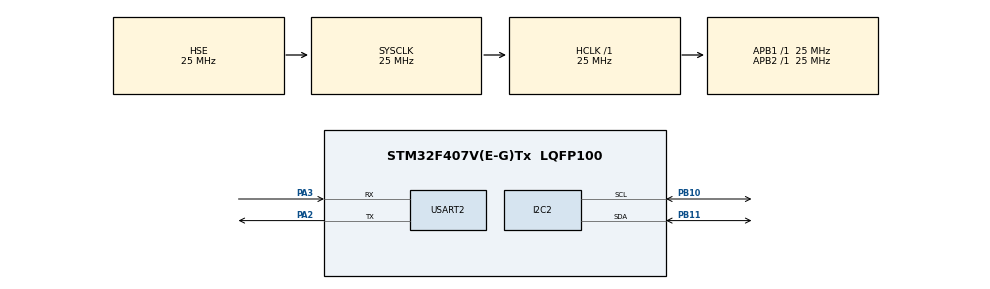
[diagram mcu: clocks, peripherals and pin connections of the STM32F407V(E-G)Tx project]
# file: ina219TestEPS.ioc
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Mcu.Family=STM32F4
Mcu.Name=STM32F407V(E-G)Tx
Mcu.Package=LQFP100
NVIC.PriorityGroup=NVIC_PRIORITYGROUP_4
PA2.Mode=Asynchronous
PA2.Signal=USART2_TX
PA3.Mode=Asynchronous
PA3.Signal=USART2_RX
PB10.Mode=I2C
PB10.Signal=I2C2_SCL
PB11.Mode=I2C
PB11.Signal=I2C2_SDA
PH0-OSC_IN.Mode=HSE-External-Oscillator
PH0-OSC_IN.Signal=RCC_OSC_IN
PH1-OSC_OUT.Mode=HSE-External-Oscillator
PH1-OSC_OUT.Signal=RCC_OSC_OUT
ProjectManager.HeapSize=0x200
ProjectManager.StackSize=0x400
ProjectManager.TargetToolchain=Makefile
RCC.48MHZClocksFreq_Value=75000000
RCC.AHBFreq_Value=25000000
RCC.APB1Freq_Value=25000000
RCC.APB1TimFreq_Value=25000000
RCC.APB2Freq_Value=25000000
RCC.APB2TimFreq_Value=25000000
RCC.CortexFreq_Value=25000000
RCC.HCLKFreq_Value=25000000
RCC.HSE_VALUE=25000000
RCC.HSI_VALUE=16000000
RCC.LSE_VALUE=32768
RCC.PLLSourceVirtual=RCC_PLLSOURCE_HSE
RCC.SYSCLKFreq_VALUE=25000000
RCC.SYSCLKSource=RCC_SYSCLKSOURCE_HSE
RCC.VCOOutputFreq_Value=300000000
USART2.VirtualMode=VM_ASYNC
board=custom

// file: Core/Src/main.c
/* USER CODE BEGIN Header */
/**
  ******************************************************************************
  * @file           : main.c
  * @brief          : Main program body
  ******************************************************************************
  * @attention
  *
  * Copyright (c) 2025 STMicroelectronics.
  * All rights reserved.
  *
  * This software is licensed under terms that can be found in the LICENSE file
  * in the root directory of this software component.
  * If no LICENSE file comes with this software, it is provided AS-IS.
  *
  ******************************************************************************
  */
/* USER CODE END Header */
#include "main.h"
#include "i2c.h"
#include "usart.h"
#include "gpio.h"

/* USER CODE BEGIN Includes */
#include <stdio.h> //i2c2 ma connect wires instead of i2c1
#include <stm32f407xx.h>
#include <stm32f4xx.h>
#include "ina219.h"
#include <stdint.h>
/* USER CODE END Includes */

/* USER CODE BEGIN PTD */

int _write(int file, char *data, int len)
{
  HAL_UART_Transmit(&huart2, (uint8_t *)data, len, HAL_MAX_DELAY);
  return len;
}
/* USER CODE END PTD */

/* USER CODE BEGIN PV */
INA219_t ina1, ina2;
/* USER CODE END PV */

void SystemClock_Config(void);
/* USER CODE BEGIN PFP */
// void i2c_scan(void);
// void ina219_dual_init(void);

/* USER CODE END PFP */

int main(void)
{

  /* MCU Configuration--------------------------------------------------------*/

  /* Reset of all peripherals, Initializes the Flash interface and the Systick. */
  HAL_Init();

  /* Configure the system clock */
  SystemClock_Config();

  /* Initialize all configured peripherals */
  MX_GPIO_Init();
  MX_USART2_UART_Init();
  MX_I2C2_Init();
  /* USER CODE BEGIN 2 */

 printf("Scanning I2C bus...\n");
  for(uint8_t addr = 1; addr < 127; addr++) //Read the address of I2C devices connected
  {
    if(HAL_I2C_IsDeviceReady(&hi2c2, addr << 1, 1, 10) == HAL_OK)
    {
      printf("Device found at 0x%02X\n", addr); //0x40 and 0x41 in this case
    }
  }

  printf("Starting INA219 test...\n");

  // INA1 0x40
  ina1.address = 0x40;
  if(ina219_init(&ina1)){
    printf("INA219 at 0x40 init success.\n");
  }else{
    printf("INA219 at 0x40 init failed.\n");}

  // INA2 0x41
  ina2.address = 0x41;
  if(ina219_init(&ina2)){
    printf("INA219 at 0x41 init success.\n");
  }else{
    printf("INA219 at 0x41 init failed.\n");
  }

    const float max_current = 2.5; // Amp
  const float r_shunt = 0.1;     // Ohm
  const bool status_cal = ina219_calibrate( &ina1 ,max_current, r_shunt);

  // See ina219_regcal.cpp to compute config_val.
  const uint16_t config_val = 0x199F;
  const bool status_config = ina219_configure(&ina1, config_val);

  if (status_cal && status_config)
  {
    printf("Successful configuration of ina1!\r\n");
  }
  else
  {
    printf("Configuration error of ina1!\r\n");
    while (1);
  }

  const bool status_cal2 = ina219_calibrate( &ina2 ,max_current, r_shunt);

  // See ina219_regcal.cpp to compute config_val.
  const uint16_t config_val2 = 0x199F;
  const bool status_config2 = ina219_configure(&ina2, config_val2);

  if (status_cal2 && status_config2)
  {
    printf("Successful configuration of ina2!\r\n");
  }
  else
  {
    printf("Configuration error of ina2!\r\n");
    while (1);
  }
  /* USER CODE END 2 */

  /* Infinite loop */
  while (1)
  {
    float bus_v1 = ina219_get_bus_voltage(&ina1);
    float shunt_v1 = ina219_get_shunt_voltage(&ina1);
    float current1 = ina219_get_current(&ina1);
    float power1 = ina219_get_power(&ina1);

    float bus_v2 = ina219_get_bus_voltage(&ina2);
    float shunt_v2 = ina219_get_shunt_voltage(&ina2);
    float current2 = ina219_get_current(&ina2);
    float power2 = ina219_get_power(&ina2);

    printf("INA1 (0x40): Bus=%iV Shunt=%iV Current=%iA Power=%iW\n", (int)(bus_v1 *1000) ,(int)( shunt_v1 *1000) ,(int)( current1 *1000),(int)( power1 *1000));
    printf("INA2 (0x41): Bus=%iV Shunt=%iV Current=%iA Power=%iW\n", (int)(bus_v2 *1000) ,(int)( shunt_v2 *1000) ,(int)( current2 *1000),(int)( power2 *1000));
    printf("-------------------------------------------\n");

    HAL_Delay(1000);

  }
}

void SystemClock_Config(void)
{
  RCC_OscInitTypeDef RCC_OscInitStruct = {0};
  RCC_ClkInitTypeDef RCC_ClkInitStruct = {0};

  /** Configure the main internal regulator output voltage
  */
  __HAL_RCC_PWR_CLK_ENABLE();
  __HAL_PWR_VOLTAGESCALING_CONFIG(PWR_REGULATOR_VOLTAGE_SCALE1);

  /** Initializes the RCC Oscillators according to the specified parameters
  * in the RCC_OscInitTypeDef structure.
  */
  RCC_OscInitStruct.OscillatorType = RCC_OSCILLATORTYPE_HSE;
  RCC_OscInitStruct.HSEState = RCC_HSE_ON;
  RCC_OscInitStruct.PLL.PLLState = RCC_PLL_NONE;
  if (HAL_RCC_OscConfig(&RCC_OscInitStruct) != HAL_OK)
  {
    Error_Handler();
  }

  /** Initializes the CPU, AHB and APB buses clocks
  */
  RCC_ClkInitStruct.ClockType = RCC_CLOCKTYPE_HCLK|RCC_CLOCKTYPE_SYSCLK
                              |RCC_CLOCKTYPE_PCLK1|RCC_CLOCKTYPE_PCLK2;
  RCC_ClkInitStruct.SYSCLKSource = RCC_SYSCLKSOURCE_HSE;
  RCC_ClkInitStruct.AHBCLKDivider = RCC_SYSCLK_DIV1;
  RCC_ClkInitStruct.APB1CLKDivider = RCC_HCLK_DIV1;
  RCC_ClkInitStruct.APB2CLKDivider = RCC_HCLK_DIV1;

  if (HAL_RCC_ClockConfig(&RCC_ClkInitStruct, FLASH_LATENCY_0) != HAL_OK)
  {
    Error_Handler();
  }
}

void Error_Handler(void)
{
  __disable_irq();
  while (1)
  {
  }
}
